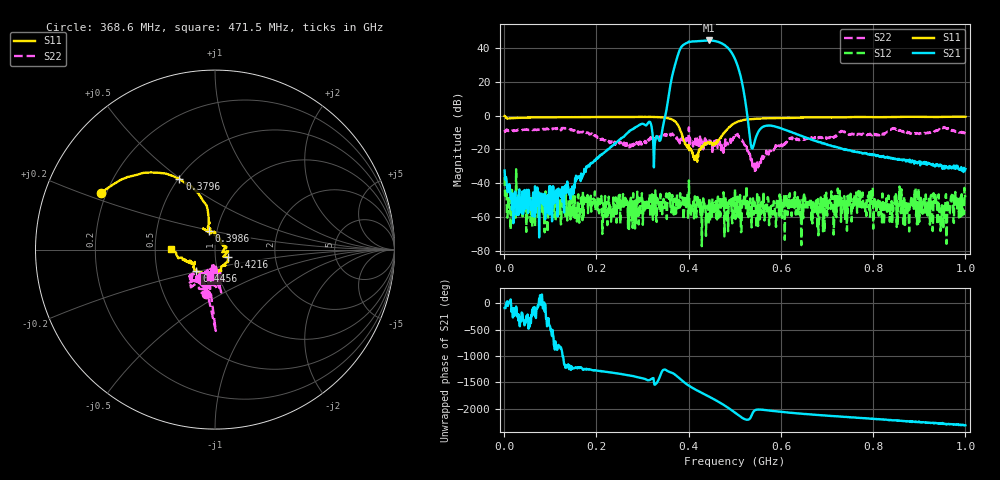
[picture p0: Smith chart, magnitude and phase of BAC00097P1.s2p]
!measured: 2026-10-29T11:16:57
!cal_instance: BB
!cal_created: 2026-10-29T10:46
!cal_file: SOLT_12_1_00M-1_00G_1001pt.cal
!port1_delay_ps: 0.0
!port2_delay_ps: 0.0
!host: lindon
! Created with skrf 2.1.0 (http://scikit-rf.org).
# Hz S RI R 50.0
!freq ReS11 ImS11 ReS21 ImS21 ReS12 ImS12 ReS22 ImS22
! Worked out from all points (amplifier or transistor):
!   1001 points, 1 MHz to 1 GHz, reference 50 ohm
!   highest |S21| = 44.5 dB at 443.6 MHz (marker M1)
!   |S21| within 3 dB of that: 386.8 MHz to 479.3 MHz (92.46 MHz wide, 21.4 % of centre)
!   unconditionally stable (mu >= 1): start of sweep to 400.3 MHz; 400.9 MHz to end of sweep
!   at 166.8 MHz: K = 1210.20, MAG = -26.4 dB, |S12| = -49.1 dB
!   at 500.5 MHz: K = 1.17, MAG = 35.9 dB, |S12| = -43.3 dB
!   at 1 GHz: K = 624.82, MAG = -22.6 dB, |S12| = -48.4 dB
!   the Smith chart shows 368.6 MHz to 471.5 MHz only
!   S11 on the Smith chart (normalised r, x): 368.6 MHz: 0.18, +0.23; 379.6 MHz: 0.51, +0.49; 398.6 MHz: 0.92, +0.19; 421.6 MHz: 1.15, -0.10; 445.6 MHz: 0.79, -0.20; 471.5 MHz: 0.61, +0.00
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1000000  -0.3581 0.9097  0.00168 -0.0238  0.00437 -0.0145  0.3725 -0.0553
1.67833e8  0.5693 -0.7023  -0.0106 -0.0083  0.00385 -0.000221  -0.00502 -0.3237
3.34666e8  -0.7118 -0.5571  0.2015 -0.0506  -0.0018 -0.00139  0.0764 -0.2214
3.68632e8  -0.6344 0.3159  -4.288 25.44  0.00192 -0.00293  -0.0476 -0.2461
3.79621e8  -0.1982 0.393  76.72 26.39  0.00149 -0.000545  -0.1066 -0.153
3.87613e8  -0.0398 0.2155  94.03 -77  -0.00202 0.00209  -0.1238 -0.1347
3.98602e8  -0.033 0.1016  -55.03 -136.2  -0.000399 0.00086  -0.0705 -0.1649
4.09591e8  0.0261 0.0609  -154.6 -24.89  -0.00141 -0.00169  -0.00788 -0.1219
4.21579e8  0.0729 -0.0412  -106.4 121  0.00154 0.00081  -0.00794 -0.1315
4.32568e8  0.0132 -0.1361  24.05 163.4  0.000712 0.00167  0.0078 -0.1217
4.43557e8  -0.0876 -0.1271  141.9 89.94  0.000589 -0.00014  -0.0177 -0.1825
4.45555e8  -0.1035 -0.1211  154.2 65.23  0.00147 -0.000481  -0.00439 -0.1639
4.52548e8  -0.1175 -0.081  161.9 -27.72  -0.000529 -0.00116  0.0119 -0.1383
4.6054e8  -0.136 -0.063  104.8 -116.5  -0.00214 -0.00263  0.0533 -0.1496
4.71529e8  -0.2446 0.000587  -33.27 -134.7  -0.00383 -0.000149  -0.0297 -0.1545
4.83517e8  -0.2817 0.2733  -105 -17.68  0.000698 6.99e-05  0.0371 -0.1507
4.92508e8  -0.1342 0.4978  -53.81 53.25  0.00328 0.000993  -0.071 -0.1859
5.005e8  0.0904 0.6043  4.633 47.17  -0.000786 0.00678  -0.1705 -0.2491
5.18482e8  0.5583 0.4856  5.541 -2.641  0.00077 0.0027  -0.1315 -0.0912
6.67333e8  0.382 -0.8017  0.1263 0.1466  -0.00182 -0.00126  0.1097 -0.1731
8.34166e8  -0.1805 -0.8827  0.0285 -0.0475  0.00303 -0.000768  -0.0172 -0.3842
1e9  -0.5427 -0.7527  -0.0238 -0.0116  -0.00373 -0.000813  -0.091 -0.2881
